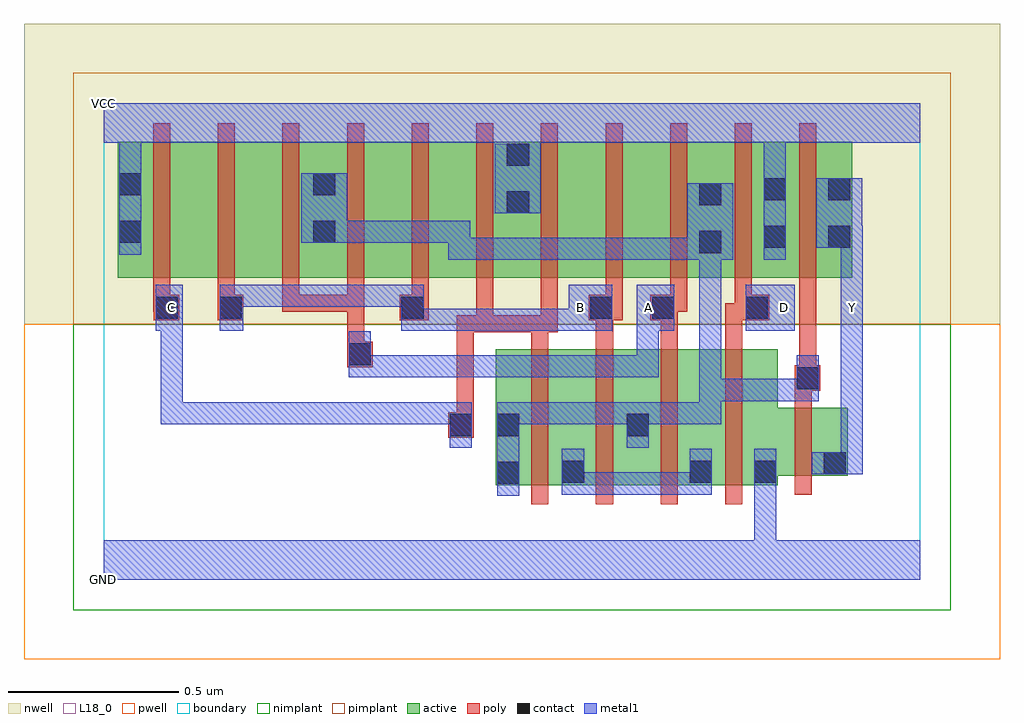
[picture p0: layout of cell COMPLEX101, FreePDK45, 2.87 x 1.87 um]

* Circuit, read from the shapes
.subckt COMPLEX101 A B C D GND VCC Y
M1 n1 C n2 VSUBS nfet w=0.4u l=0.05u
M2 n2 B n1 VSUBS nfet w=0.4u l=0.05u
M3 n1 A n2 VSUBS nfet w=0.4u l=0.05u
M4 GND D n1 VSUBS nfet w=0.4u l=0.05u
M5 Y n2 GND VSUBS nfet w=0.2u l=0.05u
M6 n3 C VCC n4 pfet w=0.4u l=0.05u
M7 n5 B n3 n4 pfet w=0.4u l=0.05u
M8 n2 A n5 n4 pfet w=0.4u l=0.05u
M9 n6 A n2 n4 pfet w=0.4u l=0.05u
M10 n7 B n6 n4 pfet w=0.4u l=0.05u
M11 VCC C n7 n4 pfet w=0.4u l=0.05u
M12 n8 C VCC n4 pfet w=0.4u l=0.05u
M13 n9 B n8 n4 pfet w=0.4u l=0.05u
M14 n2 A n9 n4 pfet w=0.4u l=0.05u
M15 VCC D n2 n4 pfet w=0.4u l=0.05u
M16 Y n2 VCC n4 pfet w=0.4u l=0.05u
.ends

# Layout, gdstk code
import gdstk
lib = gdstk.Library(unit=1e-6, precision=1e-09)
def R(c, l, rs):  # rectangles x0, y0, x1, y1
    for r in rs: c.add(gdstk.rectangle(r[:2], r[2:], *l))
def A(c, l, x, y, w, h, nx, ny, dx, dy):  # array of equal rectangles
    R(c, l, [(x+i*dx, y+j*dy, x+i*dx+w, y+j*dy+h) for i in range(nx) for j in range(ny)])
active = (1, 0)
pwell = (2, 0)
nwell = (3, 0)
nimplant = (4, 0)
pimplant = (5, 0)
poly = (9, 0)
contact = (10, 0)
metal1 = (11, 0)
L18_0 = (18, 0)
boundary = (235, 0)

complex101 = lib.new_cell('COMPLEX101')
A(complex101, active, 0.04, 0.887, 0.225, 0.4, 3, 1, 0.57, 0)
A(complex101, active, 0.265, 0.887, 0.19, 0.4, 3, 1, 0.57, 0)
R(complex101, active, [(1.152,0.277,1.417,0.677), (1.152,0.277,1.227,0.677), (1.342,0.277,1.607,0.677), (1.342,0.277,1.417,0.492), (1.532,0.277,1.792,0.677), (1.717,0.277,1.982,0.677), (1.717,0.277,1.792,0.492), (1.907,0.28,1.982,0.505), (1.532,0.295,1.607,0.522), (1.907,0.305,2.187,0.505), (2.112,0.305,2.187,0.505), (0.04,0.887,0.115,1.205), (0.455,0.887,0.685,1.287), (1.025,0.887,1.255,1.287), (1.595,0.887,1.82,1.287), (1.745,0.887,2.01,1.287), (1.935,0.887,2.2,1.287), (2.125,0.887,2.2,1.2), (0.61,0.907,0.685,1.2), (1.18,0.907,1.255,1.287), (1.745,0.907,1.82,1.2), (1.935,0.907,2.01,1.205)])
R(complex101, pwell, [(-0.235,-0.235,2.635,0.75)])
R(complex101, nwell, [(-0.235,0.75,2.635,1.635)])
R(complex101, nimplant, [(-0.09,-0.09,2.49,0.75)])
R(complex101, pimplant, [(-0.09,0.75,2.49,1.49)])
A(complex101, poly, 1.257, 0.222, 0.05, 0.51, 4, 1, 0.19, 0)
A(complex101, poly, 1.447, 0.682, 0.05, 0.13, 3, 1, 0.19, 0)
A(complex101, poly, 0.145, 0.787, 0.05, 0.095, 5, 1, 0.19, 0)
A(complex101, poly, 1.475, 0.787, 0.05, 0.095, 3, 1, 0.19, 0)
A(complex101, poly, 0.145, 0.832, 0.05, 0.51, 11, 1, 0.19, 0)
R(complex101, poly, [(2.032,0.25,2.082,0.56), (1.012,0.417,1.087,0.492), (1.037,0.442,1.087,0.777), (2.032,0.51,2.082,0.605), (2.032,0.555,2.107,0.63), (2.045,0.58,2.095,0.882), (2.045,0.58,2.095,0.63), (2.045,0.58,2.095,0.63), (0.715,0.625,0.79,0.7), (0.715,0.65,0.765,0.837), (1.257,0.682,1.307,0.777), (1.037,0.727,1.102,0.777), (1.052,0.727,1.102,0.777), (1.052,0.727,1.102,0.777), (1.052,0.727,1.102,0.777), (1.052,0.727,1.145,0.777), (1.095,0.727,1.145,0.882), (1.095,0.727,1.307,0.777), (1.257,0.727,1.307,0.777), (1.257,0.727,1.307,0.777), (1.257,0.727,1.307,0.777), (1.257,0.727,1.307,0.777), (1.257,0.727,1.335,0.777), (1.285,0.727,1.335,0.882), (0.147,0.762,0.222,0.837), (0.335,0.762,0.41,0.837), (0.87,0.762,0.955,0.837), (1.425,0.762,1.525,0.837), (1.447,0.762,1.497,0.812), (1.447,0.762,1.497,0.812), (1.607,0.762,1.687,0.837), (1.827,0.762,1.905,0.812), (1.855,0.762,1.905,0.812), (1.855,0.762,1.957,0.837), (0.145,0.787,0.197,0.837), (0.147,0.787,0.197,0.837), (0.525,0.787,0.575,0.837), (0.525,0.787,0.765,0.837), (0.715,0.787,0.765,0.837), (0.715,0.787,0.765,0.837), (0.715,0.787,0.765,0.837), (1.637,0.787,1.687,0.837), (1.637,0.787,1.715,0.837)])
R(complex101, contact, [(1.157,0.282,1.222,0.347), (1.347,0.285,1.412,0.35), (1.722,0.285,1.787,0.35), (1.912,0.285,1.977,0.35), (2.117,0.31,2.182,0.375), (1.017,0.422,1.082,0.487), (1.157,0.422,1.222,0.487), (1.537,0.422,1.602,0.487), (2.037,0.56,2.102,0.625), (0.72,0.63,0.785,0.695), (0.152,0.767,0.217,0.832), (0.34,0.767,0.405,0.832), (0.875,0.767,0.94,0.832), (1.43,0.767,1.495,0.832), (1.612,0.767,1.677,0.832), (1.887,0.767,1.952,0.832), (1.75,0.96,1.815,1.025), (1.94,0.975,2.005,1.04), (2.13,0.975,2.195,1.04), (0.045,0.99,0.11,1.055), (0.615,0.99,0.68,1.055), (1.185,1.077,1.25,1.142), (1.75,1.1,1.815,1.165), (1.94,1.115,2.005,1.18), (2.13,1.115,2.195,1.18), (0.045,1.13,0.11,1.195), (0.615,1.13,0.68,1.195), (1.185,1.217,1.25,1.282)])
R(complex101, metal1, [(0,0,2.4,0.115), (1.912,0.05,1.977,0.315), (1.157,0.247,1.222,0.522), (1.347,0.25,1.412,0.315), (1.347,0.25,1.412,0.315), (1.347,0.25,1.412,0.385), (1.347,0.25,1.642,0.315), (1.577,0.25,1.642,0.315), (1.577,0.25,1.642,0.315), (1.577,0.25,1.642,0.315), (1.577,0.25,1.787,0.315), (1.722,0.25,1.787,0.385), (1.912,0.25,1.977,0.385), (2.082,0.31,2.232,0.375), (2.167,0.31,2.232,0.797), (1.017,0.387,1.082,0.522), (1.537,0.387,1.602,0.522), (0.167,0.457,0.232,0.522), (0.167,0.457,0.41,0.522), (0.167,0.457,0.232,0.797), (0.345,0.457,0.41,0.522), (0.345,0.457,0.41,0.522), (0.345,0.457,0.41,0.522), (0.345,0.457,0.577,0.522), (0.512,0.457,0.577,0.522), (0.512,0.457,0.577,0.522), (0.512,0.457,0.577,0.522), (0.512,0.457,0.715,0.522), (0.65,0.457,0.715,0.522), (0.65,0.457,0.94,0.522), (0.875,0.457,0.94,0.522), (0.875,0.457,0.94,0.522), (0.875,0.457,0.94,0.522), (0.875,0.457,1.077,0.522), (1.012,0.457,1.077,0.522), (1.012,0.457,1.077,0.522), (1.012,0.457,1.077,0.522), (1.012,0.457,1.082,0.522), (1.157,0.457,1.222,0.522), (1.157,0.457,1.222,0.522), (1.157,0.457,1.397,0.522), (1.332,0.457,1.397,0.522), (1.332,0.457,1.397,0.522), (1.332,0.457,1.397,0.522), (1.332,0.457,1.602,0.522), (1.537,0.457,1.815,0.522), (1.75,0.457,1.815,0.522), (1.75,0.457,1.815,0.522), (1.75,0.457,1.815,0.522), (1.75,0.457,1.815,0.59), (1.75,0.525,1.815,0.59), (1.75,0.525,1.815,0.59), (1.75,0.525,1.815,0.59), (1.75,0.525,1.965,0.59), (1.75,0.525,1.815,1.005), (1.9,0.525,1.965,0.59), (1.9,0.525,1.965,0.59), (1.9,0.525,1.965,0.59), (1.9,0.525,2.102,0.59), (2.037,0.525,2.102,0.66), (0.72,0.595,0.785,0.73), (0.72,0.595,0.94,0.66), (0.875,0.595,0.94,0.66), (0.875,0.595,0.94,0.66), (0.875,0.595,0.94,0.66), (0.875,0.595,1.077,0.66), (1.012,0.595,1.077,0.66), (1.012,0.595,1.077,0.66), (1.012,0.595,1.077,0.66), (1.012,0.595,1.217,0.66), (1.152,0.595,1.217,0.66), (1.152,0.595,1.217,0.66), (1.152,0.595,1.217,0.66), (1.152,0.595,1.397,0.66), (1.332,0.595,1.397,0.66), (1.332,0.595,1.397,0.66), (1.332,0.595,1.397,0.66), (1.332,0.595,1.632,0.66), (1.567,0.595,1.632,0.797), (0.152,0.732,0.232,0.867), (0.167,0.732,0.232,0.797), (0.167,0.732,0.232,0.797), (0.34,0.732,0.41,0.867), (0.875,0.732,0.94,0.867), (0.875,0.732,1.077,0.797), (1.012,0.732,1.077,0.797), (1.012,0.732,1.08,0.797), (1.015,0.732,1.08,0.797), (1.015,0.732,1.26,0.797), (1.195,0.732,1.26,0.797), (1.195,0.732,1.26,0.797), (1.195,0.732,1.26,0.797), (1.195,0.732,1.432,0.797), (1.367,0.732,1.432,0.797), (1.367,0.732,1.432,0.797), (1.367,0.732,1.495,0.867), (1.567,0.732,1.632,0.797), (1.567,0.732,1.677,0.867), (1.887,0.732,2.032,0.867), (2.167,0.732,2.232,0.867), (0.345,0.802,0.41,0.867), (0.345,0.802,0.41,0.867), (0.345,0.802,0.547,0.867), (0.482,0.802,0.547,0.867), (0.482,0.802,0.792,0.867), (0.727,0.802,0.792,0.867), (0.727,0.802,0.792,0.867), (0.727,0.802,0.792,0.867), (0.727,0.802,0.935,0.867), (0.87,0.802,0.935,0.867), (0.87,0.802,0.94,0.867), (2.167,0.802,2.232,1.04), (1.012,0.94,1.077,1.005), (1.012,0.94,1.077,1.005), (1.012,0.94,1.26,1.005), (1.012,0.94,1.077,1.055), (1.195,0.94,1.26,1.005), (1.195,0.94,1.26,1.005), (1.195,0.94,1.26,1.005), (1.195,0.94,1.397,1.005), (1.332,0.94,1.397,1.005), (1.332,0.94,1.397,1.005), (1.332,0.94,1.397,1.005), (1.332,0.94,1.642,1.005), (1.577,0.94,1.642,1.005), (1.577,0.94,1.78,1.005), (1.715,0.94,1.78,1.005), (1.715,0.94,1.78,1.005), (1.715,0.94,1.85,1.165), (1.94,0.94,2.005,1.215), (0.045,0.955,0.11,1.23), (2.095,0.975,2.23,1.18), (2.165,0.975,2.23,1.04), (2.165,0.975,2.232,1.04), (0.58,0.99,0.715,1.195), (0.65,0.99,0.715,1.055), (0.65,0.99,0.715,1.055), (0.65,0.99,0.93,1.055), (0.865,0.99,0.93,1.055), (0.865,0.99,0.93,1.055), (0.865,0.99,0.93,1.055), (0.865,0.99,1.077,1.055), (1.15,1.077,1.285,1.282), (1.94,1.15,2.005,1.35), (0.045,1.165,0.11,1.35), (1.22,1.217,1.285,1.35), (0,1.285,2.4,1.4)])
R(complex101, L18_0, [(0,0,2.4,0.115), (1.912,0.05,1.977,0.315), (1.912,0.25,1.977,0.385), (2.082,0.31,2.232,0.375), (2.167,0.31,2.232,0.797), (1.017,0.387,1.082,0.522), (0.167,0.457,0.232,0.522), (0.167,0.457,0.232,0.797), (0.167,0.457,0.41,0.522), (0.345,0.457,0.41,0.522), (0.345,0.457,0.41,0.522), (0.345,0.457,0.41,0.522), (0.345,0.457,0.577,0.522), (0.512,0.457,0.577,0.522), (0.512,0.457,0.577,0.522), (0.512,0.457,0.577,0.522), (0.512,0.457,0.715,0.522), (0.65,0.457,0.715,0.522), (0.65,0.457,0.94,0.522), (0.875,0.457,0.94,0.522), (0.875,0.457,0.94,0.522), (0.875,0.457,0.94,0.522), (0.875,0.457,1.077,0.522), (1.012,0.457,1.077,0.522), (1.012,0.457,1.077,0.522), (1.012,0.457,1.077,0.522), (1.012,0.457,1.082,0.522), (0.72,0.595,0.785,0.73), (0.72,0.595,0.94,0.66), (0.875,0.595,0.94,0.66), (0.875,0.595,0.94,0.66), (0.875,0.595,0.94,0.66), (0.875,0.595,1.077,0.66), (1.012,0.595,1.077,0.66), (1.012,0.595,1.077,0.66), (1.012,0.595,1.077,0.66), (1.012,0.595,1.217,0.66), (1.152,0.595,1.217,0.66), (1.152,0.595,1.217,0.66), (1.152,0.595,1.217,0.66), (1.152,0.595,1.397,0.66), (1.332,0.595,1.397,0.66), (1.332,0.595,1.397,0.66), (1.332,0.595,1.397,0.66), (1.332,0.595,1.632,0.66), (1.567,0.595,1.632,0.797), (0.152,0.732,0.232,0.867), (0.167,0.732,0.232,0.797), (0.167,0.732,0.232,0.797), (0.34,0.732,0.41,0.867), (0.875,0.732,1.077,0.797), (0.875,0.732,0.94,0.867), (1.012,0.732,1.077,0.797), (1.012,0.732,1.08,0.797), (1.015,0.732,1.08,0.797), (1.015,0.732,1.26,0.797), (1.195,0.732,1.26,0.797), (1.195,0.732,1.26,0.797), (1.195,0.732,1.26,0.797), (1.195,0.732,1.432,0.797), (1.367,0.732,1.432,0.797), (1.367,0.732,1.432,0.797), (1.367,0.732,1.495,0.867), (1.567,0.732,1.632,0.797), (1.567,0.732,1.677,0.867), (1.887,0.732,2.032,0.867), (2.167,0.732,2.232,0.867), (0.167,0.767,0.232,0.832), (1.367,0.767,1.432,0.832), (1.567,0.767,1.632,0.832), (1.967,0.767,2.032,0.832), (2.167,0.767,2.232,0.832), (0.345,0.802,0.41,0.867), (0.345,0.802,0.41,0.867), (0.345,0.802,0.547,0.867), (0.482,0.802,0.547,0.867), (0.482,0.802,0.792,0.867), (0.727,0.802,0.792,0.867), (0.727,0.802,0.792,0.867), (0.727,0.802,0.792,0.867), (0.727,0.802,0.935,0.867), (0.87,0.802,0.935,0.867), (0.87,0.802,0.94,0.867), (2.167,0.802,2.232,1.04), (1.94,0.94,2.005,1.215), (0.045,0.955,0.11,1.23), (2.095,0.975,2.23,1.18), (2.165,0.975,2.23,1.04), (2.165,0.975,2.232,1.04), (1.15,1.077,1.285,1.282), (1.94,1.15,2.005,1.35), (0.045,1.165,0.11,1.35), (1.22,1.217,1.285,1.35), (0,1.285,2.4,1.4)])
R(complex101, boundary, [(0,0,2.4,1.4)])
complex101.add(gdstk.Label('A', (1.6,0.8), layer=11, texttype=0))
complex101.add(gdstk.Label('B', (1.4,0.8), layer=11, texttype=0))
complex101.add(gdstk.Label('C', (0.2,0.8), layer=11, texttype=0))
complex101.add(gdstk.Label('D', (2,0.8), layer=11, texttype=0))
complex101.add(gdstk.Label('Y', (2.2,0.8), layer=11, texttype=0))
complex101.add(gdstk.Label('VCC', (0,1.4), layer=11, texttype=0))
complex101.add(gdstk.Label('GND', (0,0), layer=11, texttype=0))

lib.write_gds('COMPLEX101.gds')
